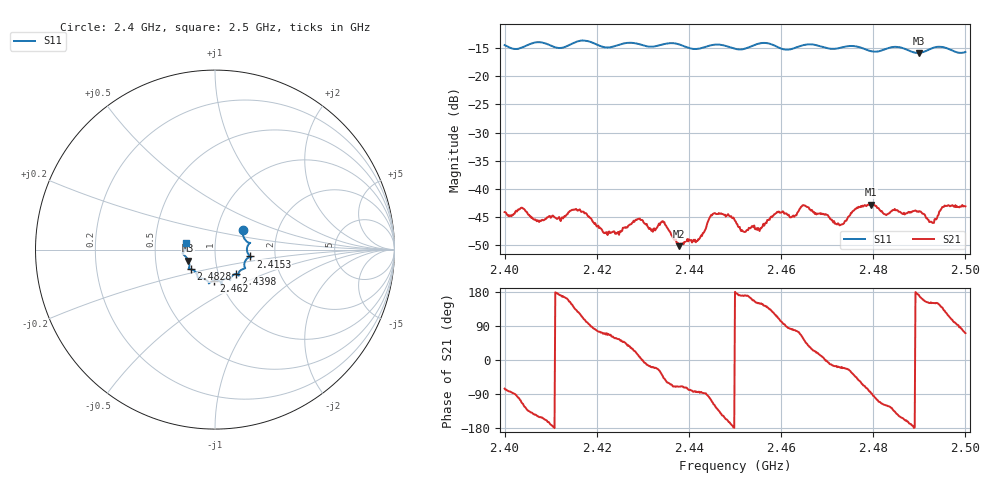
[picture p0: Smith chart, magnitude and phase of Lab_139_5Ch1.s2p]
# Hz S RI R 50
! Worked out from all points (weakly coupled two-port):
!   601 points, 2.4 GHz to 2.5 GHz, reference 50 ohm
!   highest |S21| = -42.74 dB at 2.4795 GHz (marker M1); lowest = -50.1 dB at 2.4378 GHz (marker M2)
!   lowest |S11| = -15.9 dB at 2.4898 GHz (marker M3), VSWR 1.38, Z = 36.8 - j4.63 ohm
!   |S11| at or under -10 dB: start of sweep to end of sweep
!   S12 and S22 are empty: the file has one direction only
!   S11 on the Smith chart (normalised r, x): 2.4 GHz: 1.33, +0.30; 2.4153 GHz: 1.48, -0.12; 2.4398 GHz: 1.21, -0.34; 2.462 GHz: 0.93, -0.33; 2.4828 GHz: 0.74, -0.17; 2.5 GHz: 0.72, +0.06
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2.4e9  0.1553 0.1071  0.00154 -0.00605  0 0  0 0
2.4075e9  0.1965 0.0377  -0.00445 -0.0025  0 0  0 0
2.415333e9  0.1962 -0.0384  -0.00457 0.00473  0 0  0 0
2.416667e9  0.2024 -0.0424  -0.00276 0.00562  0 0  0 0
2.421833e9  0.1692 -0.062  0.00139 0.00388  0 0  0 0
2.433333e9  0.1305 -0.1336  0.00435 -0.002  0 0  0 0
2.437833e9  0.1298 -0.1409  0.00105 -0.00294  0 0  0 0
2.439833e9  0.1158 -0.136  0.00075 -0.00335  0 0  0 0
2.442e9  0.0956 -0.1465  0.000343 -0.00357  0 0  0 0
2.445333e9  0.0844 -0.1698  -0.00272 -0.00541  0 0  0 0
2.45e9  0.065 -0.1627  -0.00523 8.86e-06  0 0  0 0
2.451833e9  0.0455 -0.1679  -0.00412 0.000804  0 0  0 0
2.462e9  -0.00485 -0.1727  0.00074 0.00557  0 0  0 0
2.466667e9  -0.0343 -0.1882  0.00575 0.00312  0 0  0 0
2.473e9  -0.08 -0.1601  0.00452 -0.00171  0 0  0 0
2.4795e9  -0.1058 -0.1286  0.000378 -0.00728  0 0  0 0
2.482833e9  -0.1363 -0.1093  -0.00293 -0.00509  0 0  0 0
2.483333e9  -0.1402 -0.1091  -0.00322 -0.00516  0 0  0 0
2.489833e9  -0.1484 -0.0612  -0.00622 0.000818  0 0  0 0
2.492667e9  -0.1738 -0.029  -0.00444 0.00255  0 0  0 0
2.495333e9  -0.1792 -0.0183  -0.00457 0.00525  0 0  0 0
2.5e9  -0.1592 0.0389  0.00229 0.00664  0 0  0 0
